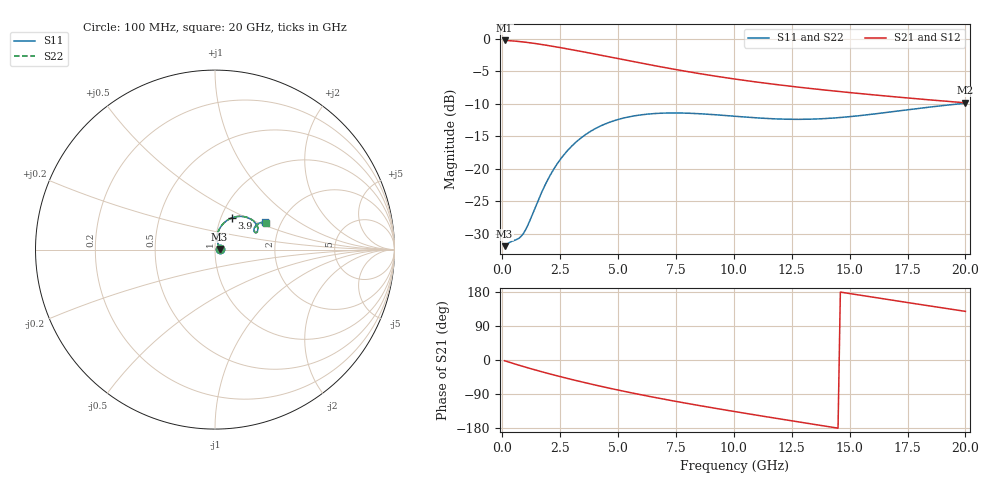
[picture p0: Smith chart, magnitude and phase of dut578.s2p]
! Touchstone file exported from HFSS 2024.1.0
!  File:  C:/UserFiles/LocalFiles/RDL_TSV_Batchsim/temp_RDL_TSV_578_1779756364.aedt
!  Generated:  08:58:15 AM May 26, 2026
!  Design:  RDL_TSV
!  Project:  temp_RDL_TSV_578_1779756364
!  Setup:  Setup1
!  Solution:  Sweep
! Variables:
!  dtsv = 13.43um
!  hbump = 3um
!  htsv = 51.75um
!  ldown = 320.74um
!  lrdl = 647.53um
!  p = 40
!  p1 = 44.67um
!  rhole = 10um
!  subl = 3552.34um
!  t = 450um
!  tdown = 3.31um
!  trdl = 2.45um
!  viad = 10um
!  wdown = 10.55um
!  wrdl = 23.91um
!  xbump = 18um
# GHz S MA R 50.000000
! Terminal data exported
! Port[1] = TM1_1_T1
! Port[2] = TM1_4_T1
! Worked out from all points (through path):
!   200 points, 100 MHz to 20 GHz, reference 50 ohm
!   highest |S21| = -0.23 dB at 100 MHz (marker M1); lowest = -9.8 dB at 20 GHz (marker M2)
!   group delay of S21, straight-line fit = 30.5 ps
!   lowest |S11| = -31.9 dB at 100 MHz (marker M3), VSWR 1.05, Z = 52.6 + j0.328 ohm
!   |S11| at or under -10 dB: start of sweep to 19.73 GHz
!   |S22| runs from -31.9 to -9.9 dB; largest |S21 - S12| = 9.9e-15
!   S11 on the Smith chart (normalised r, x): 100 MHz: 1.05, +0.01; 3.9 GHz: 1.12, +0.41; 20 GHz: 1.66, +0.57
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0.1  0.02535 7.1  0.9744 -2.0  0.9744 -2.0  0.02535 7.1
! Gamma 0 0 0 0
! Port Impedance 50 0 50 0
0.7  0.02901 38.6  0.9575 -13.4  0.9575 -13.4  0.029 38.7
0.9  0.03154 51.3  0.9491 -17.1  0.9491 -17.1  0.03154 51.4
1.1  0.03665 63.0  0.9398 -20.6  0.9398 -20.6  0.03667 63.1
1.8  0.07194 80.4  0.9013 -32.6  0.9013 -32.6  0.07205 80.5
2.2  0.09785 80.0  0.8772 -39.1  0.8772 -39.1  0.09803 80.1
2.6  0.1243 76.9  0.8524 -45.4  0.8524 -45.4  0.1245 77.0
3  0.1496 72.7  0.8275 -51.5  0.8275 -51.5  0.15 72.8
3.5  0.1784 66.9  0.7963 -58.8  0.7963 -58.8  0.1789 67.0
3.9  0.1986 62.2  0.7717 -64.5  0.7717 -64.5  0.1992 62.3
4.5  0.2236 55.4  0.7356 -72.7  0.7356 -72.7  0.2244 55.5
5.2  0.2451 48.3  0.6952 -81.9  0.6952 -81.9  0.2461 48.3
6  0.2605 41.1  0.652 -91.9  0.652 -91.9  0.2617 41.1
6.8  0.2679 35.2  0.6126 -101.3  0.6126 -101.3  0.2692 35.2
8.4  0.2663 26.8  0.5455 -119.1  0.5455 -119.1  0.268 26.7
10.1  0.2536 22.8  0.4898 -136.7  0.4898 -136.7  0.2555 22.6
11.7  0.2429 23.1  0.4488 -152.7  0.4488 -152.7  0.2447 22.7
13.4  0.2414 26.1  0.4139 -169.2  0.4139 -169.2  0.2429 25.5
15  0.2521 29.2  0.3867 175.4  0.3867 175.4  0.2529 28.5
16.7  0.2731 30.9  0.3619 159.2  0.3619 159.2  0.2733 30.2
18.4  0.298 30.5  0.3403 143.2  0.3403 143.2  0.2975 29.9
20  0.3197 28.6  0.3224 128.3  0.3224 128.3  0.3188 28.0
